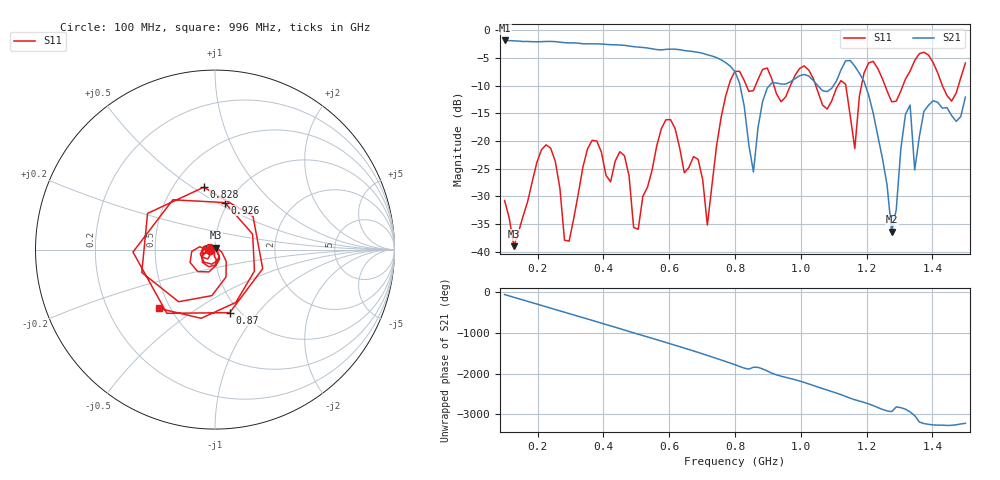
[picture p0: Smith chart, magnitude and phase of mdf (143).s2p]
! NanoVNA-App
! Date: 2025-09-25 15:39:32
! Start: 100MHz Stop: 1,5GHz Points: 101
! S-Parameter data: F S11 S21 S12 S22
# Hz S RI R 50
!  Frequency  S11_Real  S11_Imag  S21_Real  S21_Imag  S12_Real  S12_Imag  S22_Real  S22_Imag
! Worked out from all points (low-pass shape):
!   101 points, 100 MHz to 1.5 GHz, reference 50 ohm
!   highest |S21| = -1.80 dB at 100 MHz (marker M1); lowest = -36.4 dB at 1.276 GHz (marker M2)
!   |S21| within 3 dB of the highest: start of sweep to 739.2 MHz
!   lowest |S11| = -39.0 dB at 128 MHz (marker M3), VSWR 1.02, Z = 50.3 + j1.07 ohm
!   |S11| at or under -10 dB: start of sweep to 781 MHz; 1.046 GHz to 1.113 GHz (67.19 MHz wide, 6.23 % of centre); 1.256 GHz to 1.31 GHz (54 MHz wide, 4.21 % of centre) (the widest 3 of 7)
!   S12 and S22 are empty: the file has one direction only
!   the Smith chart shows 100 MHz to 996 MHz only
!   S11 on the Smith chart (normalised r, x): 100 MHz: 0.94, -0.01; 828 MHz: 0.70, +0.56; 870 MHz: 0.90, -0.73; 926 MHz: 0.97, +0.54; 996 MHz: 0.43, -0.36
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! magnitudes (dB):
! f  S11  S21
! 100 MHz  -30.8  -1.8
! 128 MHz  -39.0  -1.9
! 212 MHz  -21.6  -2.0
! 282 MHz  -37.9  -2.2
! 338 MHz  -24.7  -2.4
! 464 MHz  -22.6  -2.7
! 506 MHz  -36.0  -3.0
! 576 MHz  -17.8  -3.5
! 716 MHz  -35.2  -4.4
! 800 MHz  -7.4  -7.5
! 828 MHz  -9.0  -13.7
! 856 MHz  -10.9  -25.6
! 870 MHz  -8.9  -17.5
! 926 MHz  -11.5  -9.5
! 996 MHz  -6.9  -8.2
! 1.038 GHz  -8.7  -9.0
! 1.164 GHz  -21.4  -6.5
! 1.192 GHz  -7.7  -9.2
! 1.276 GHz  -12.9  -36.4
! 1.332 GHz  -7.3  -13.5
! 1.346 GHz  -5.4  -25.2
! 1.5 GHz  -5.9  -12.0
